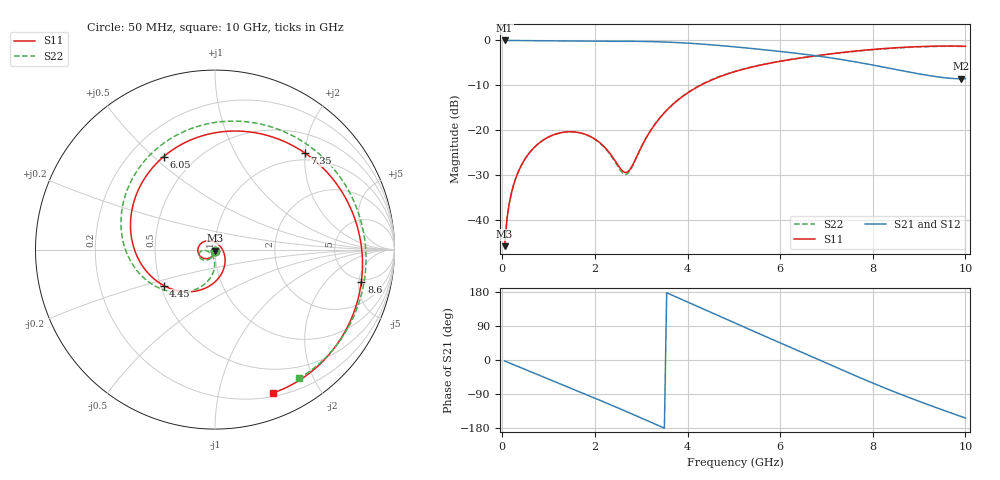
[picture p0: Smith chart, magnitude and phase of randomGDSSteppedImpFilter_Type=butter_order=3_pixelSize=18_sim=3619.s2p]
! freq	dB(S11)	phase(S11)	dB(S12)	phase(S12)
!  dB(S21)	phase(S21)	dB(S22)	phase(S22)
!S-par simulation data
#  GHz  S  DB  R 50
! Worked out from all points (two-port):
!   200 points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, 50 MHz to 10 GHz, reference 50 ohm
!   highest |S21| = 0.00 dB at 50 MHz (marker M1); lowest = -8.5 dB at 9.9 GHz (marker M2)
!   |S21| within 3 dB of the highest: start of sweep to 6.459 GHz
!   lowest |S11| = -45.9 dB at 50 MHz (marker M3), VSWR 1.01, Z = 50 - j0.508 ohm
!   |S11| at or under -10 dB: start of sweep to 4.281 GHz
!   |S22| runs from -45.9 to -1.3 dB; largest |S21 - S12| = 0
!   S11 on the Smith chart (normalised r, x): 50 MHz: 1.00, -0.01; 4.45 GHz: 0.52, -0.24; 6.05 GHz: 0.34, +0.54; 7.35 GHz: 0.85, +2.00; 8.6 GHz: 4.60, -5.42; 10 GHz: 0.23, -1.46
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0.05  -45.88 -92.1  -0.00 -2.5  -0.00 -2.5  -45.85 -91.6
0.1  -39.87 -95.3  -0.00 -5.1  -0.00 -5.1  -39.85 -94.3
0.2  -33.90 -101.2  -0.01 -10.2  -0.01 -10.2  -33.87 -99.1
0.55  -25.54 -121.1  -0.04 -27.9  -0.04 -27.9  -25.52 -115.3
1.1  -21.08 -152.8  -0.09 -55.5  -0.09 -55.5  -21.08 -139.8
1.75  -20.79 166.9  -0.14 -88.1  -0.14 -88.1  -20.83 -165.7
2.15  -23.19 136.1  -0.14 -108.5  -0.14 -108.5  -23.30 -175.9
2.65  -29.46 49.7  -0.16 -134.4  -0.16 -134.4  -29.90 -139.3
3.4  -17.31 -73.7  -0.31 -174.5  -0.31 -174.5  -17.23 -96.0
3.9  -12.44 -109.6  -0.54 158.4  -0.54 158.4  -12.36 -114.7
4.45  -9.14 -145.0  -0.92 128.5  -0.92 128.5  -9.07 -139.2
5.05  -6.86 178.1  -1.46 96.1  -1.46 96.1  -6.79 -167.1
5.55  -5.55 148.2  -1.96 69.3  -1.96 69.3  -5.50 169.2
6.05  -4.55 118.9  -2.51 42.6  -2.51 42.6  -4.53 144.9
6.7  -3.52 81.9  -3.32 7.7  -3.32 7.7  -3.54 112.0
7.35  -2.67 47.0  -4.30 -27.0  -4.30 -27.0  -2.72 77.6
7.85  -2.14 21.9  -5.19 -53.2  -5.19 -53.2  -2.20 50.6
8.35  -1.73 -1.4  -6.18 -78.3  -6.18 -78.3  -1.79 23.9
8.6  -1.57 -12.3  -6.68 -90.4  -6.68 -90.4  -1.63 10.9
9.2  -1.31 -37.1  -7.81 -118.1  -7.81 -118.1  -1.37 -19.1
9.9  -1.27 -64.2  -8.55 -148.8  -8.55 -148.8  -1.32 -52.2
10  -1.29 -68.0  -8.52 -153.2  -8.52 -153.2  -1.34 -56.9
